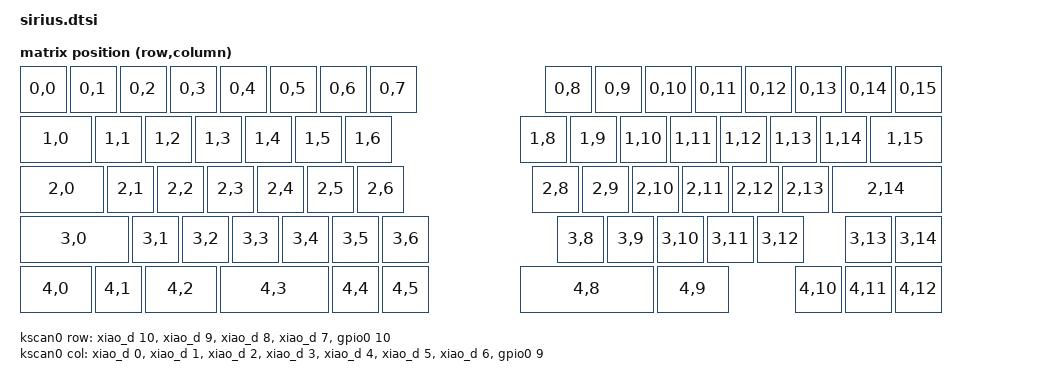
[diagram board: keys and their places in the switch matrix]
#include <dt-bindings/zmk/matrix_transform.h>
#include <physical_layouts.dtsi>

/ {
    chosen {
        zmk,physical-layout = &sirius_physical_layout;
    };
    
    sirius_physical_layout: sirius_physical_layout {
        compatible = "zmk,physical-layout";
        display-name = "Default";
        transform = <&default_transform>;
        kscan = <&kscan0>;

        keys  //                     w   h    x    y     rot    rx    ry
            = <&key_physical_attrs 100 100    0    0       0     0     0>
            , <&key_physical_attrs 100 100  100    0       0     0     0>
            , <&key_physical_attrs 100 100  200    0       0     0     0>
            , <&key_physical_attrs 100 100  300    0       0     0     0>
            , <&key_physical_attrs 100 100  400    0       0     0     0>
            , <&key_physical_attrs 100 100  500    0       0     0     0>
            , <&key_physical_attrs 100 100  600    0       0     0     0>
            , <&key_physical_attrs 100 100  700    0       0     0     0>

            , <&key_physical_attrs 100 100 1050    0       0     0     0>
            , <&key_physical_attrs 100 100 1150    0       0     0     0>
            , <&key_physical_attrs 100 100 1250    0       0     0     0>
            , <&key_physical_attrs 100 100 1350    0       0     0     0>
            , <&key_physical_attrs 100 100 1450    0       0     0     0>
            , <&key_physical_attrs 100 100 1550    0       0     0     0>
            , <&key_physical_attrs 100 100 1650    0       0     0     0>
            , <&key_physical_attrs 100 100 1750    0       0     0     0>

            , <&key_physical_attrs 150 100    0  100       0     0     0>
            , <&key_physical_attrs 100 100  150  100       0     0     0>
            , <&key_physical_attrs 100 100  250  100       0     0     0>
            , <&key_physical_attrs 100 100  350  100       0     0     0>
            , <&key_physical_attrs 100 100  450  100       0     0     0>
            , <&key_physical_attrs 100 100  550  100       0     0     0>
            , <&key_physical_attrs 100 100  650  100       0     0     0>
            
            , <&key_physical_attrs 100 100 1000  100       0     0     0>
            , <&key_physical_attrs 100 100 1100  100       0     0     0>
            , <&key_physical_attrs 100 100 1200  100       0     0     0>
            , <&key_physical_attrs 100 100 1300  100       0     0     0>
            , <&key_physical_attrs 100 100 1400  100       0     0     0>
            , <&key_physical_attrs 100 100 1500  100       0     0     0>
            , <&key_physical_attrs 100 100 1600  100       0     0     0>
            , <&key_physical_attrs 150 100 1700  100       0     0     0>

            , <&key_physical_attrs 175 100    0  200       0     0     0>
            , <&key_physical_attrs 100 100  175  200       0     0     0>
            , <&key_physical_attrs 100 100  275  200       0     0     0>
            , <&key_physical_attrs 100 100  375  200       0     0     0>
            , <&key_physical_attrs 100 100  475  200       0     0     0>
            , <&key_physical_attrs 100 100  575  200       0     0     0>
            , <&key_physical_attrs 100 100  675  200       0     0     0>
            
            , <&key_physical_attrs 100 100 1025  200       0     0     0>
            , <&key_physical_attrs 100 100 1125  200       0     0     0>
            , <&key_physical_attrs 100 100 1225  200       0     0     0>
            , <&key_physical_attrs 100 100 1325  200       0     0     0>
            , <&key_physical_attrs 100 100 1425  200       0     0     0>
            , <&key_physical_attrs 100 100 1525  200       0     0     0>
            , <&key_physical_attrs 225 100 1625  200       0     0     0>

            , <&key_physical_attrs 225 100    0  300       0     0     0>
            , <&key_physical_attrs 100 100  225  300       0     0     0>
            , <&key_physical_attrs 100 100  325  300       0     0     0>
            , <&key_physical_attrs 100 100  425  300       0     0     0>
            , <&key_physical_attrs 100 100  525  300       0     0     0>
            , <&key_physical_attrs 100 100  625  300       0     0     0>
            , <&key_physical_attrs 100 100  725  300       0     0     0>

            , <&key_physical_attrs 100 100 1075  300       0     0     0>
            , <&key_physical_attrs 100 100 1175  300       0     0     0>
            , <&key_physical_attrs 100 100 1275  300       0     0     0>
            , <&key_physical_attrs 100 100 1375  300       0     0     0>
            , <&key_physical_attrs 100 100 1475  300       0     0     0>
            , <&key_physical_attrs 100 100 1650  300       0     0     0>
            , <&key_physical_attrs 100 100 1750  300       0     0     0>
            
            , <&key_physical_attrs 150 100    0  400       0     0     0>
            , <&key_physical_attrs 100 100  150  400       0     0     0>
            , <&key_physical_attrs 150 100  250  400       0     0     0>
            , <&key_physical_attrs 225 100  400  400       0     0     0>
            , <&key_physical_attrs 100 100  625  400       0     0     0>
            , <&key_physical_attrs 100 100  725  400       0     0     0>

            , <&key_physical_attrs 275 100 1000  400       0     0     0>
            , <&key_physical_attrs 150 100 1275  400       0     0     0>
            , <&key_physical_attrs 100 100 1550  400       0     0     0>
            , <&key_physical_attrs 100 100 1650  400       0     0     0>
            , <&key_physical_attrs 100 100 1750  400       0     0     0>
            ;
    };

    default_transform: keymap_transform_0 {
        compatible = "zmk,matrix-transform";
        columns = <16>;
        rows = <5>;
        map = <
            RC(0,0) RC(0,1) RC(0,2) RC(0,3) RC(0,4) RC(0,5) RC(0,6) RC(0,7)             RC(0,8) RC(0,9) RC(0,10) RC(0,11) RC(0,12) RC(0,13) RC(0,14) RC(0,15)
            RC(1,0) RC(1,1) RC(1,2) RC(1,3) RC(1,4) RC(1,5) RC(1,6)                       RC(1,8) RC(1,9) RC(1,10) RC(1,11) RC(1,12) RC(1,13) RC(1,14) RC(1,15)
            RC(2,0) RC(2,1) RC(2,2) RC(2,3) RC(2,4) RC(2,5) RC(2,6)                       RC(2,8) RC(2,9) RC(2,10) RC(2,11) RC(2,12) RC(2,13) RC(2,14)
            RC(3,0) RC(3,1) RC(3,2) RC(3,3) RC(3,4) RC(3,5) RC(3,6)                       RC(3,8) RC(3,9) RC(3,10) RC(3,11) RC(3,12) RC(3,13) RC(3,14)
            RC(4,0) RC(4,1) RC(4,2) RC(4,3) RC(4,4) RC(4,5)                                RC(4,8) RC(4,9) RC(4,10) RC(4,11) RC(4,12)
        >;
    };
    

    kscan0: kscan {
        compatible = "zmk,kscan-gpio-matrix";
        label = "KSCAN";
        diode-direction = "col2row";
        row-gpios
            = <&xiao_d 10 (GPIO_ACTIVE_HIGH | GPIO_PULL_DOWN)>
            , <&xiao_d 9 (GPIO_ACTIVE_HIGH | GPIO_PULL_DOWN)>
            , <&xiao_d 8 (GPIO_ACTIVE_HIGH | GPIO_PULL_DOWN)>
            , <&xiao_d 7 (GPIO_ACTIVE_HIGH | GPIO_PULL_DOWN)>
            , <&gpio0 10 (GPIO_ACTIVE_HIGH | GPIO_PULL_DOWN)>
            ;
        col-gpios
            = <&xiao_d 0 GPIO_ACTIVE_HIGH>
            , <&xiao_d 1 GPIO_ACTIVE_HIGH>
            , <&xiao_d 2 GPIO_ACTIVE_HIGH>
            , <&xiao_d 3 GPIO_ACTIVE_HIGH>
            , <&xiao_d 4 GPIO_ACTIVE_HIGH>
            , <&xiao_d 5 GPIO_ACTIVE_HIGH>
            , <&xiao_d 6 GPIO_ACTIVE_HIGH>
            , <&gpio0 9 GPIO_ACTIVE_HIGH>
            ;
        };
};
